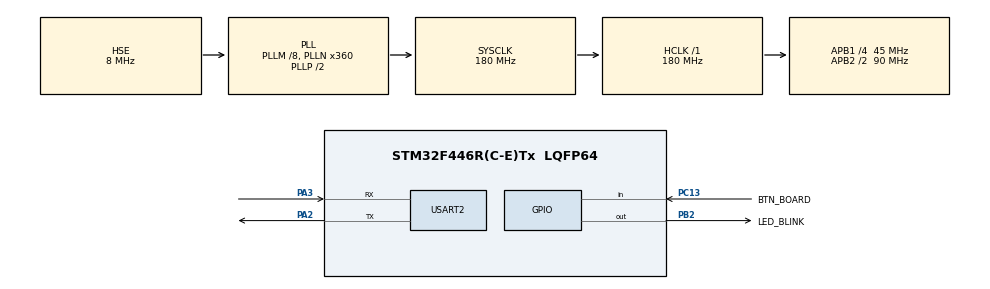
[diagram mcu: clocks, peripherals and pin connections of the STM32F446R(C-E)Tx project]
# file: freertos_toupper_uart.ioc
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FREERTOS.Tasks01=defaultTask,24,128,StartDefaultTask,Default,NULL,Dynamic,NULL,NULL
FREERTOS.configUSE_NEWLIB_REENTRANT=1
Mcu.Family=STM32F4
Mcu.Name=STM32F446R(C-E)Tx
Mcu.Package=LQFP64
NVIC.PriorityGroup=NVIC_PRIORITYGROUP_4
NVIC.TIM2_IRQn=true\:5\:0\:false\:false\:true\:true\:true\:true\:true
NVIC.TIM8_TRG_COM_TIM14_IRQn=true\:15\:0\:false\:false\:true\:false\:false\:true\:true
NVIC.TimeBase=TIM8_TRG_COM_TIM14_IRQn
NVIC.TimeBaseIP=TIM14
NVIC.USART2_IRQn=true\:5\:0\:false\:false\:true\:true\:true\:true\:true
PA13.Mode=Serial_Wire
PA13.Signal=SYS_JTMS-SWDIO
PA14.Mode=Serial_Wire
PA14.Signal=SYS_JTCK-SWCLK
PA2.Mode=Asynchronous
PA2.Signal=USART2_TX
PA3.Mode=Asynchronous
PA3.Signal=USART2_RX
PB2.GPIO_Label=LED_BLINK
PB2.Signal=GPIO_Output
PC13.GPIO_Label=BTN_BOARD
PC13.Signal=GPIO_Input
PH0-OSC_IN.Mode=HSE-External-Oscillator
PH0-OSC_IN.Signal=RCC_OSC_IN
PH1-OSC_OUT.Mode=HSE-External-Oscillator
PH1-OSC_OUT.Signal=RCC_OSC_OUT
ProjectManager.HeapSize=0x200
ProjectManager.StackSize=0x400
ProjectManager.TargetToolchain=STM32CubeIDE
RCC.AHBFreq_Value=180000000
RCC.APB1CLKDivider=RCC_HCLK_DIV4
RCC.APB1Freq_Value=45000000
RCC.APB1TimFreq_Value=90000000
RCC.APB2CLKDivider=RCC_HCLK_DIV2
RCC.APB2Freq_Value=90000000
RCC.APB2TimFreq_Value=180000000
RCC.CortexFreq_Value=180000000
RCC.HCLKFreq_Value=180000000
RCC.HSE_VALUE=8000000
RCC.PLLM=8
RCC.PLLN=360
RCC.PLLSourceVirtual=RCC_PLLSOURCE_HSE
RCC.SYSCLKFreq_VALUE=180000000
RCC.SYSCLKSource=RCC_SYSCLKSOURCE_PLLCLK
RCC.USBFreq_Value=180000000
RCC.VCOOutputFreq_Value=360000000
TIM2.AutoReloadPreload=TIM_AUTORELOAD_PRELOAD_ENABLE
TIM2.CounterMode=TIM_COUNTERMODE_DOWN
TIM2.Period=1000000
TIM2.Prescaler=84-1
USART2.VirtualMode=VM_ASYNC
VP_FREERTOS_VS_CMSIS_V2.Mode=CMSIS_V2
VP_SYS_VS_tim14.Mode=TIM14
VP_TIM2_VS_ClockSourceINT.Mode=Internal
board=custom

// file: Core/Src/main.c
/* USER CODE BEGIN Header */
/**
  ******************************************************************************
  * @file           : main.c
  * @brief          : Main program body
  ******************************************************************************
  * @attention
  *
  * Copyright (c) 2026 STMicroelectronics.
  * All rights reserved.
  *
  * This software is licensed under terms that can be found in the LICENSE file
  * in the root directory of this software component.
  * If no LICENSE file comes with this software, it is provided AS-IS.
  *
  ******************************************************************************
  */
/* USER CODE END Header */
#include "main.h"
#include "cmsis_os.h"

/* USER CODE BEGIN Includes */
#include <ctype.h>
#include "queue.h"
#include "task.h"
#include "semphr.h"
#include <stdio.h>
#include <string.h>
/* USER CODE END Includes */

/* USER CODE BEGIN PD */
#define LEN_COLA_MSG (16)
/* USER CODE END PD */

TIM_HandleTypeDef htim2;

UART_HandleTypeDef huart2;

/* Definitions for defaultTask */
osThreadId_t defaultTaskHandle;
const osThreadAttr_t defaultTask_attributes = {
  .name = "defaultTask",
  .stack_size = 128 * 4,
  .priority = (osPriority_t) osPriorityNormal,
};
/* USER CODE BEGIN PV */
xSemaphoreHandle semaforo_interrupt;
xQueueHandle colaRx, colaTx;
char dato_rx, dato_tx;
uint8_t enviando = 0;

/* USER CODE END PV */

void SystemClock_Config(void);
static void MX_GPIO_Init(void);
static void MX_USART2_UART_Init(void);
static void MX_TIM2_Init(void);
void StartDefaultTask(void *argument);

/* USER CODE BEGIN 0 */
void led_task(void *p) {
	while(1) {
       xSemaphoreTake(semaforo_interrupt, portMAX_DELAY);
       HAL_GPIO_TogglePin(LED_BLINK_GPIO_Port, LED_BLINK_Pin);
       // vTaskDelay(1000 / portTICK_PERIOD_MS);
	}
}

void serial_receive_task(void *p) {
	char dato;
	while(1) {
		xQueueReceive(colaRx, (uint8_t*)&dato, portMAX_DELAY);
		dato = toupper(dato);
		xQueueSend(colaTx, (uint8_t*)&dato, portMAX_DELAY);
	}
	/*
	TickType_t xLastWakeTime;
	xLastWakeTime = xTaskGetTickCount();

	while(1) {
       snprintf(str, sizeof(str)-1, "%010lu\r\n", HAL_GetTick());
       HAL_UART_Transmit(&huart2, (uint8_t*)str, strlen(str), 100);
       vTaskDelayUntil(&xLastWakeTime, 500);
	}
	*/
}

void serial_send_task(void *p) {
	char dato;
	while(1) {
		if (!enviando){
			xQueueReceive(colaTx, (uint8_t*)&dato, portMAX_DELAY);
			enviando = 1;
			HAL_UART_Transmit_IT(&huart2, (uint8_t*)&dato, sizeof(dato));
		}
		vTaskDelay(pdMS_TO_TICKS(5));
	}
}

void HAL_UART_RxCpltCallback(UART_HandleTypeDef *huart) {
	if (huart->Instance == USART2) {
		BaseType_t llamarplanificador;
		xQueueSendFromISR(colaRx, &dato_rx, &llamarplanificador);
		HAL_UART_Receive_IT(&huart2, (uint8_t*)&dato_rx, sizeof(dato_rx));
		portEND_SWITCHING_ISR(llamarplanificador);
	}
}

void HAL_UART_TxCpltCallback(UART_HandleTypeDef *huart) {
	if (huart->Instance == USART2) {
		BaseType_t llamarplanificador;
		char dato;
		if (xQueueReceiveFromISR(colaTx, &dato, &llamarplanificador) == pdPASS) {
			enviando = 1;
			dato_tx = dato;
			HAL_UART_Transmit_IT(&huart2, (uint8_t*)&dato_tx, sizeof(dato_tx));
		} else enviando = 0;
		portEND_SWITCHING_ISR(llamarplanificador);
	}
}
/* USER CODE END 0 */

int main(void)
{

  /* MCU Configuration--------------------------------------------------------*/

  /* Reset of all peripherals, Initializes the Flash interface and the Systick. */
  HAL_Init();

  /* Configure the system clock */
  SystemClock_Config();

  /* Initialize all configured peripherals */
  MX_GPIO_Init();
  MX_USART2_UART_Init();
  MX_TIM2_Init();
  /* USER CODE BEGIN 2 */
  // uint32_t currentTicks;
  /* USER CODE END 2 */

  /* Init scheduler */
  osKernelInitialize();

  /* USER CODE BEGIN RTOS_SEMAPHORES */
  /* add semaphores, ... */
  semaforo_interrupt = xSemaphoreCreateBinary();
  /* USER CODE END RTOS_SEMAPHORES */

  /* USER CODE BEGIN RTOS_QUEUES */
  /* add queues, ... */
  colaRx = xQueueCreate(LEN_COLA_MSG, sizeof(char));
  colaTx = xQueueCreate(LEN_COLA_MSG, sizeof(char));
  /* USER CODE END RTOS_QUEUES */

  /* Create the thread(s) */
  /* creation of defaultTask */
  defaultTaskHandle = osThreadNew(StartDefaultTask, NULL, &defaultTask_attributes);

  /* USER CODE BEGIN RTOS_THREADS */
  /* add threads, ... */
  xTaskCreate(led_task, "LED", configMINIMAL_STACK_SIZE, NULL, osPriorityNormal, NULL);
  xTaskCreate(serial_receive_task, "SERIAL_RX", configMINIMAL_STACK_SIZE * 4, NULL, osPriorityAboveNormal, NULL);
  xTaskCreate(serial_send_task, "SERIAL_TX", configMINIMAL_STACK_SIZE * 4, NULL, osPriorityNormal, NULL);
  /* USER CODE END RTOS_THREADS */

  /* USER CODE BEGIN RTOS_EVENTS */
  /* add events, ... */
  HAL_UART_Receive_IT(&huart2, (uint8_t*)&dato_rx, sizeof(dato_rx));
  // HAL_TIM_Base_Init(&htim2);
  /* USER CODE END RTOS_EVENTS */

  /* Start scheduler */
  osKernelStart();

  /* We should never get here as control is now taken by the scheduler */

  /* Infinite loop */
  while (1)
  {

  }
}

void SystemClock_Config(void)
{
  RCC_OscInitTypeDef RCC_OscInitStruct = {0};
  RCC_ClkInitTypeDef RCC_ClkInitStruct = {0};

  /** Configure the main internal regulator output voltage
  */
  __HAL_RCC_PWR_CLK_ENABLE();
  __HAL_PWR_VOLTAGESCALING_CONFIG(PWR_REGULATOR_VOLTAGE_SCALE1);

  /** Initializes the RCC Oscillators according to the specified parameters
  * in the RCC_OscInitTypeDef structure.
  */
  RCC_OscInitStruct.OscillatorType = RCC_OSCILLATORTYPE_HSE;
  RCC_OscInitStruct.HSEState = RCC_HSE_ON;
  RCC_OscInitStruct.PLL.PLLState = RCC_PLL_ON;
  RCC_OscInitStruct.PLL.PLLSource = RCC_PLLSOURCE_HSE;
  RCC_OscInitStruct.PLL.PLLM = 8;
  RCC_OscInitStruct.PLL.PLLN = 360;
  RCC_OscInitStruct.PLL.PLLP = RCC_PLLP_DIV2;
  RCC_OscInitStruct.PLL.PLLQ = 2;
  RCC_OscInitStruct.PLL.PLLR = 2;
  if (HAL_RCC_OscConfig(&RCC_OscInitStruct) != HAL_OK)
  {
    Error_Handler();
  }

  /** Activate the Over-Drive mode
  */
  if (HAL_PWREx_EnableOverDrive() != HAL_OK)
  {
    Error_Handler();
  }

  /** Initializes the CPU, AHB and APB buses clocks
  */
  RCC_ClkInitStruct.ClockType = RCC_CLOCKTYPE_HCLK|RCC_CLOCKTYPE_SYSCLK
                              |RCC_CLOCKTYPE_PCLK1|RCC_CLOCKTYPE_PCLK2;
  RCC_ClkInitStruct.SYSCLKSource = RCC_SYSCLKSOURCE_PLLCLK;
  RCC_ClkInitStruct.AHBCLKDivider = RCC_SYSCLK_DIV1;
  RCC_ClkInitStruct.APB1CLKDivider = RCC_HCLK_DIV4;
  RCC_ClkInitStruct.APB2CLKDivider = RCC_HCLK_DIV2;

  if (HAL_RCC_ClockConfig(&RCC_ClkInitStruct, FLASH_LATENCY_5) != HAL_OK)
  {
    Error_Handler();
  }
}

static void MX_TIM2_Init(void)
{

  TIM_ClockConfigTypeDef sClockSourceConfig = {0};
  TIM_MasterConfigTypeDef sMasterConfig = {0};

  htim2.Instance = TIM2;
  htim2.Init.Prescaler = 84-1;
  htim2.Init.CounterMode = TIM_COUNTERMODE_DOWN;
  htim2.Init.Period = 1000000;
  htim2.Init.ClockDivision = TIM_CLOCKDIVISION_DIV1;
  htim2.Init.AutoReloadPreload = TIM_AUTORELOAD_PRELOAD_ENABLE;
  if (HAL_TIM_Base_Init(&htim2) != HAL_OK)
  {
    Error_Handler();
  }
  sClockSourceConfig.ClockSource = TIM_CLOCKSOURCE_INTERNAL;
  if (HAL_TIM_ConfigClockSource(&htim2, &sClockSourceConfig) != HAL_OK)
  {
    Error_Handler();
  }
  sMasterConfig.MasterOutputTrigger = TIM_TRGO_RESET;
  sMasterConfig.MasterSlaveMode = TIM_MASTERSLAVEMODE_DISABLE;
  if (HAL_TIMEx_MasterConfigSynchronization(&htim2, &sMasterConfig) != HAL_OK)
  {
    Error_Handler();
  }

}

static void MX_USART2_UART_Init(void)
{

  huart2.Instance = USART2;
  huart2.Init.BaudRate = 115200;
  huart2.Init.WordLength = UART_WORDLENGTH_8B;
  huart2.Init.StopBits = UART_STOPBITS_1;
  huart2.Init.Parity = UART_PARITY_NONE;
  huart2.Init.Mode = UART_MODE_TX_RX;
  huart2.Init.HwFlowCtl = UART_HWCONTROL_NONE;
  huart2.Init.OverSampling = UART_OVERSAMPLING_16;
  if (HAL_UART_Init(&huart2) != HAL_OK)
  {
    Error_Handler();
  }

}

static void MX_GPIO_Init(void)
{
  GPIO_InitTypeDef GPIO_InitStruct = {0};

  /* GPIO Ports Clock Enable */
  __HAL_RCC_GPIOC_CLK_ENABLE();
  __HAL_RCC_GPIOH_CLK_ENABLE();
  __HAL_RCC_GPIOA_CLK_ENABLE();
  __HAL_RCC_GPIOB_CLK_ENABLE();

  /*Configure GPIO pin Output Level */
  HAL_GPIO_WritePin(LED_BLINK_GPIO_Port, LED_BLINK_Pin, GPIO_PIN_RESET);

  /*Configure GPIO pin : BTN_BOARD_Pin */
  GPIO_InitStruct.Pin = BTN_BOARD_Pin;
  GPIO_InitStruct.Mode = GPIO_MODE_INPUT;
  GPIO_InitStruct.Pull = GPIO_NOPULL;
  HAL_GPIO_Init(BTN_BOARD_GPIO_Port, &GPIO_InitStruct);

  /*Configure GPIO pin : LED_BLINK_Pin */
  GPIO_InitStruct.Pin = LED_BLINK_Pin;
  GPIO_InitStruct.Mode = GPIO_MODE_OUTPUT_PP;
  GPIO_InitStruct.Pull = GPIO_NOPULL;
  GPIO_InitStruct.Speed = GPIO_SPEED_FREQ_LOW;
  HAL_GPIO_Init(LED_BLINK_GPIO_Port, &GPIO_InitStruct);

}

void StartDefaultTask(void *argument)
{
  for(;;)
  {
    osDelay(1);
  }
}

void HAL_TIM_PeriodElapsedCallback(TIM_HandleTypeDef *htim)
{
  if (htim->Instance == TIM14)
  {
    HAL_IncTick();
  }
  /* USER CODE BEGIN Callback 1 */
  if (htim->Instance == TIM2) {
	  BaseType_t taskWithPrioity = 0;
	  xSemaphoreGiveFromISR(semaforo_interrupt, &taskWithPrioity);
	  portEND_SWITCHING_ISR(taskWithPrioity);
  }
  /* USER CODE END Callback 1 */
}

void Error_Handler(void)
{
  __disable_irq();
  while (1)
  {
  }
}
